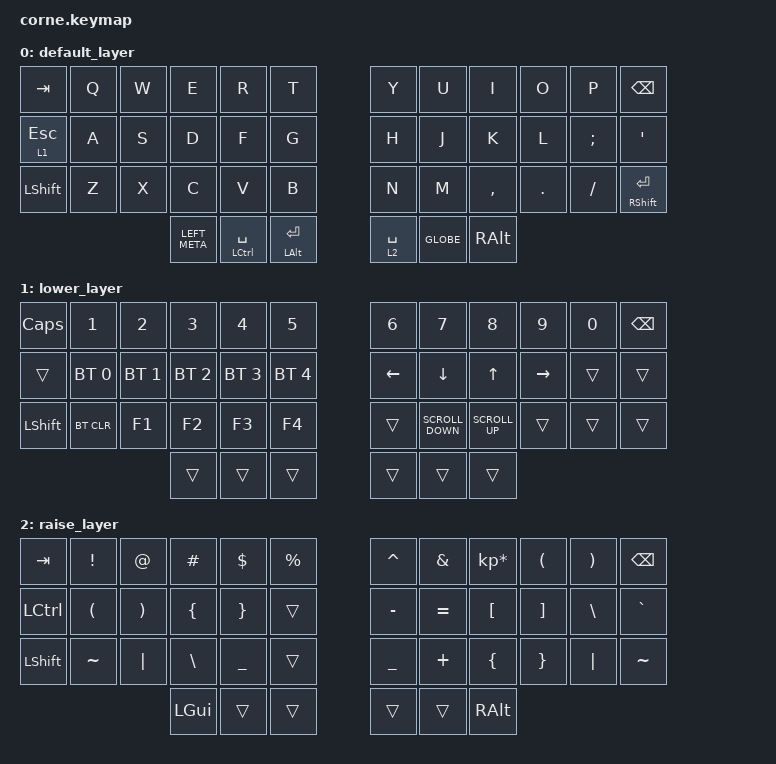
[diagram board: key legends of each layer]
/*
 * Copyright (c) 2020 The ZMK Contributors
 *
 * SPDX-License-Identifier: MIT
 */

#include <behaviors.dtsi>
#include <dt-bindings/zmk/bt.h>
#include <dt-bindings/zmk/keys.h>

/ {
    keymap {
        compatible = "zmk,keymap";

        default_layer {
            // -----------------------------------------------------------------------------------------
            // |  TAB |  Q  |  W  |  E  |  R  |  T  |   |  Y  |  U   |  I  |  O  |  P  | BKSP |
            // | CTRL |  A  |  S  |  D  |  F  |  G  |   |  H  |  J   |  K  |  L  |  ;  |  '   |
            // | SHFT |  Z  |  X  |  C  |  V  |  B  |   |  N  |  M   |  ,  |  .  |  /  | ESC  |
            //                    | GUI | LWR | SPC |   | ENT | RSE  | ALT |

            bindings = <
&kp TAB    &kp Q  &kp W  &kp E          &kp R                   &kp T                 &kp Y        &kp U      &kp I      &kp O    &kp P     &kp BSPC
&lt 1 ESC  &kp A  &kp S  &kp D          &kp F                   &kp G                 &kp H        &kp J      &kp K      &kp L    &kp SEMI  &kp SQT
&kp LSHFT  &kp Z  &kp X  &kp C          &kp V                   &kp B                 &kp N        &kp M      &kp COMMA  &kp DOT  &kp FSLH  &mt RIGHT_SHIFT ENTER
                         &kp LEFT_META  &mt LEFT_CONTROL SPACE  &mt LEFT_ALT ENTER    &lt 2 SPACE  &kp GLOBE  &kp RALT
            >;
        };

        lower_layer {
            // -----------------------------------------------------------------------------------------
            // |  TAB |  1  |  2  |  3  |  4  |  5  |   |  6  |  7  |  8  |  9  |  0  | BKSP |
            // | BTCLR| BT1 | BT2 | BT3 | BT4 | BT5 |   | LFT | DWN |  UP | RGT |     |      |
            // | SHFT |     |     |     |     |     |   |     |     |     |     |     |      |
            //                    | GUI |     | SPC |   | ENT |     | ALT |

            bindings = <
&kp CAPSLOCK  &kp N1        &kp N2        &kp N3        &kp N4        &kp N5          &kp N6    &kp N7             &kp N8           &kp N9     &kp N0  &kp BSPC
&trans        &bt BT_SEL 0  &bt BT_SEL 1  &bt BT_SEL 2  &bt BT_SEL 3  &bt BT_SEL 4    &kp LEFT  &kp DOWN           &kp UP           &kp RIGHT  &trans  &trans
&kp LSHFT     &bt BT_CLR    &kp F1        &kp F2        &kp F3        &kp F4          &trans    &kp K_SCROLL_DOWN  &kp K_SCROLL_UP  &trans     &trans  &trans
                                          &trans        &trans        &trans          &trans    &trans             &trans
            >;
        };

        raise_layer {
            // -----------------------------------------------------------------------------------------
            // |  TAB |  !  |  @  |  #  |  $  |  %  |   |  ^  |  &  |  *  |  (  |  )  | BKSP |
            // | CTRL |     |     |     |     |     |   |  -  |  =  |  [  |  ]  |  \  |  `   |
            // | SHFT |     |     |     |     |     |   |  _  |  +  |  {  |  }  | "|" |  ~   |
            //                    | GUI |     | SPC |   | ENT |     | ALT |

            bindings = <
&kp TAB    &kp EXCL              &kp AT                 &kp HASH        &kp DLLR         &kp PRCNT    &kp CARET  &kp AMPS   &kp KP_MULTIPLY   &kp LPAR  &kp RPAR       &kp BSPC
&kp LCTRL  &kp LEFT_PARENTHESIS  &kp RIGHT_PARENTHESIS  &kp LEFT_BRACE  &kp RIGHT_BRACE  &trans       &kp MINUS  &kp EQUAL  &kp LEFT_BRACKET  &kp RBKT  &kp BACKSLASH  &kp GRAVE
&kp LSHFT  &kp TILDE             &kp PIPE               &kp BACKSLASH   &kp UNDER        &trans       &kp UNDER  &kp PLUS   &kp LBRC          &kp RBRC  &kp PIPE       &kp TILDE
                                                        &kp LGUI        &trans           &trans       &trans     &trans     &kp RALT
            >;
        };
    };
};
